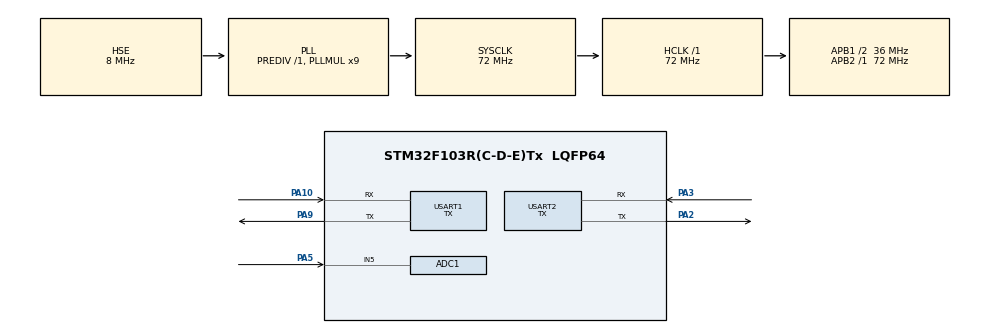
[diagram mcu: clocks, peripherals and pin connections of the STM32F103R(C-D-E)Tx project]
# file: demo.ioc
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ADC1.Channel-7\#ChannelRegularConversion=ADC_CHANNEL_5
ADC1.NbrOfConversionFlag=1
ADC1.Rank-7\#ChannelRegularConversion=1
ADC1.SamplingTime-7\#ChannelRegularConversion=ADC_SAMPLETIME_55CYCLES_5
ADC1.master=1
Mcu.Family=STM32F1
Mcu.Name=STM32F103R(C-D-E)Tx
Mcu.Package=LQFP64
NVIC.PriorityGroup=NVIC_PRIORITYGROUP_4
PA10.Mode=Asynchronous
PA10.Signal=USART1_RX
PA13.Mode=Serial_Wire
PA13.Signal=SYS_JTMS-SWDIO
PA14.Mode=Serial_Wire
PA14.Signal=SYS_JTCK-SWCLK
PA2.Mode=Asynchronous
PA2.Signal=USART2_TX
PA3.Mode=Asynchronous
PA3.Signal=USART2_RX
PA5.Signal=ADCx_IN5
PA9.Mode=Asynchronous
PA9.Signal=USART1_TX
PD0-OSC_IN.Mode=HSE-External-Oscillator
PD0-OSC_IN.Signal=RCC_OSC_IN
PD1-OSC_OUT.Mode=HSE-External-Oscillator
PD1-OSC_OUT.Signal=RCC_OSC_OUT
ProjectManager.HeapSize=0x200
ProjectManager.StackSize=0x400
ProjectManager.TargetToolchain=MDK-ARM V5
RCC.ADCPresc=RCC_ADCPCLK2_DIV6
RCC.AHBFreq_Value=72000000
RCC.APB1CLKDivider=RCC_HCLK_DIV2
RCC.APB1Freq_Value=36000000
RCC.APB1TimFreq_Value=72000000
RCC.APB2Freq_Value=72000000
RCC.APB2TimFreq_Value=72000000
RCC.HCLKFreq_Value=72000000
RCC.PLLMUL=RCC_PLL_MUL9
RCC.PLLSourceVirtual=RCC_PLLSOURCE_HSE
RCC.SYSCLKFreq_VALUE=72000000
RCC.SYSCLKSource=RCC_SYSCLKSOURCE_PLLCLK
RCC.USBFreq_Value=72000000
SH.ADCx_IN5.0=ADC1_IN5,IN5
USART1.Mode=MODE_TX
USART1.VirtualMode=VM_ASYNC
USART2.Mode=MODE_TX
USART2.VirtualMode=VM_ASYNC
board=custom

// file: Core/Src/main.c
/* USER CODE BEGIN Header */
/**
 ******************************************************************************
 * @file           : main.c
 * @brief          : Main program body
 ******************************************************************************
 * @attention
 *
 * <h2><center>&copy; Copyright (c) 2022 STMicroelectronics.
 * All rights reserved.</center></h2>
 *
 * This software component is licensed by ST under BSD 3-Clause license,
 * the "License"; You may not use this file except in compliance with the
 * License. You may obtain a copy of the License at:
 *                        opensource.org/licenses/BSD-3-Clause
 *
 ******************************************************************************
 */
/* USER CODE END Header */

#include "main.h"
#include "adc.h"
#include "gpio.h"
#include "usart.h"

void SystemClock_Config(void);

/* USER CODE BEGIN 0 */
uint16_t read_adc()
{
    HAL_ADC_Start(&hadc1);
    HAL_ADC_PollForConversion(&hadc1, 100);
    while (HAL_IS_BIT_CLR(HAL_ADC_GetState(&hadc1), HAL_ADC_STATE_REG_EOC)) {}
    return HAL_ADC_GetValue(&hadc1);
}
/* USER CODE END 0 */

int main(void)
{

    /* MCU Configuration--------------------------------------------------------*/

    /* Reset of all peripherals, Initializes the Flash interface and the Systick. */
    HAL_Init();

    /* Configure the system clock */
    SystemClock_Config();

    /* Initialize all configured peripherals */
    MX_GPIO_Init();
    MX_USART1_UART_Init();
    MX_ADC1_Init();
    MX_USART2_UART_Init();
    /* USER CODE BEGIN 2 */
    HAL_ADCEx_Calibration_Start(&hadc1);
    /* USER CODE END 2 */

    /* Infinite loop */
    /* USER CODE BEGIN WHILE */
    while (1) {
        int32_t sum = 0;
        for (uint16_t i = 0; i < 1024; i++) {
            sum += read_adc();  // PA5(adc1_ch5)
            HAL_Delay(2);
        }
        float vout = (sum >> 10) * 4980.f / 1024;  // @mv

        uint8_t uv;  // uv index

        // 光电流值转换成紫外线等级
        if (vout < 50) {
            uv = 0;
        } else if (vout < 227) {
            uv = 1;
        } else if (vout < 318) {
            uv = 2;
        } else if (vout < 408) {
            uv = 3;
        } else if (vout < 503) {
            uv = 4;
        } else if (vout < 606) {
            uv = 5;
        } else if (vout < 696) {
            uv = 6;
        } else if (vout < 795) {
            uv = 7;
        } else if (vout < 881) {
            uv = 8;
        } else if (vout < 976) {
            uv = 9;
        } else if (vout < 1079) {
            uv = 10;
        } else {
            uv = 11;
        }
        printf("voltage = %.3fmV\tuv = %d\r\n", vout, uv);

        HAL_Delay(20);
        /* USER CODE END WHILE */

    }
}

void SystemClock_Config(void)
{
    RCC_OscInitTypeDef       RCC_OscInitStruct = {0};
    RCC_ClkInitTypeDef       RCC_ClkInitStruct = {0};
    RCC_PeriphCLKInitTypeDef PeriphClkInit     = {0};

    /** Initializes the CPU, AHB and APB busses clocks
     */
    RCC_OscInitStruct.OscillatorType = RCC_OSCILLATORTYPE_HSE;
    RCC_OscInitStruct.HSEState       = RCC_HSE_ON;
    RCC_OscInitStruct.HSEPredivValue = RCC_HSE_PREDIV_DIV1;
    RCC_OscInitStruct.HSIState       = RCC_HSI_ON;
    RCC_OscInitStruct.PLL.PLLState   = RCC_PLL_ON;
    RCC_OscInitStruct.PLL.PLLSource  = RCC_PLLSOURCE_HSE;
    RCC_OscInitStruct.PLL.PLLMUL     = RCC_PLL_MUL9;
    if (HAL_RCC_OscConfig(&RCC_OscInitStruct) != HAL_OK) {
        Error_Handler();
    }
    /** Initializes the CPU, AHB and APB busses clocks
     */
    RCC_ClkInitStruct.ClockType      = RCC_CLOCKTYPE_HCLK | RCC_CLOCKTYPE_SYSCLK | RCC_CLOCKTYPE_PCLK1 | RCC_CLOCKTYPE_PCLK2;
    RCC_ClkInitStruct.SYSCLKSource   = RCC_SYSCLKSOURCE_PLLCLK;
    RCC_ClkInitStruct.AHBCLKDivider  = RCC_SYSCLK_DIV1;
    RCC_ClkInitStruct.APB1CLKDivider = RCC_HCLK_DIV2;
    RCC_ClkInitStruct.APB2CLKDivider = RCC_HCLK_DIV1;

    if (HAL_RCC_ClockConfig(&RCC_ClkInitStruct, FLASH_LATENCY_2) != HAL_OK) {
        Error_Handler();
    }
    PeriphClkInit.PeriphClockSelection = RCC_PERIPHCLK_ADC;
    PeriphClkInit.AdcClockSelection    = RCC_ADCPCLK2_DIV6;
    if (HAL_RCCEx_PeriphCLKConfig(&PeriphClkInit) != HAL_OK) {
        Error_Handler();
    }
}

void Error_Handler(void)
{
}

/************************ (C) COPYRIGHT STMicroelectronics *****END OF FILE****/
